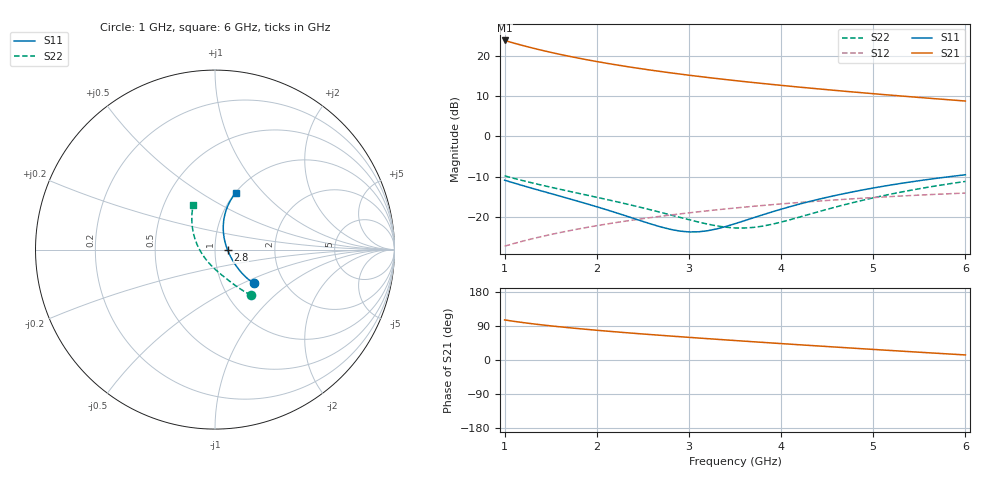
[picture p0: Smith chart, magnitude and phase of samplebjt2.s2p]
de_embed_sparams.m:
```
%% De-embedding S-parameters 
% The S-parameter data in the file "samplebjt2.s2p" was collected from a
% bipolar transistor in a fixture with a bond wire (series inductance 1nH)
% connected to a bond pad (shunt capacitance 100fF) on the input, and a
% bond pad (shunt capacitance 100fF) connected to a bond wire (series
% inductance 1nH) on the output.
% 
% This demo shows how you can remove the effect of the fixture and extract 
% the S-parameters of the device under test itself.

%   Copyright 2004 The MathWorks, Inc.
%   $Revision: 1.1.6.5 $  $Date: 2004/04/20 23:19:41 $

%% Create RF objects
% Create a data object for the measured S-parameters, by reading a
% Touchstone data file 'samplebjt2.s2p', and create two circuit objects
% for the input pad and output pad.
measured_data = read(rfdata.data, 'samplebjt2.s2p');
input_pad = rfckt.cascade('Ckts', {rfckt.seriesrlc('L', 1e-9), ...
    rfckt.shuntrlc('C', 100e-15)});  % L = 1nH, C = 100fF
output_pad = rfckt.cascade('Ckts', {rfckt.shuntrlc('C', 100e-15),...
    rfckt.seriesrlc('L', 1e-9)});    % L = 1nH, C = 100fF

%% Analyze the circuit objects in frequency domain
% Analyze the input pad and output pad circuit objects at the same 
% frequencies at which the S-parameters of the bjt were measured.
freq = measured_data.Freq;
analyze(input_pad, freq);
analyze(output_pad, freq);

%% De-embed the S-parameters
% De-embed the S-parameters from the measured S-parameters by removing
% the effects of input and output pads. Create a data object for plotting
% the de-embedded S-parameters.
z0 = measured_data.Z0;
input_pad_sparams = extract(input_pad.RFdata, 'S_Parameters', z0);
output_pad_sparams = extract(output_pad.RFdata, 'S_Parameters', z0);
de_embedded_sparams = deembedsparams(measured_data.S_Parameters, ...
    input_pad_sparams, output_pad_sparams);
de_embedded_data = rfdata.data('Z0', z0, 'S_Parameters', ...
    de_embedded_sparams, 'Freq', freq);

%% Plot both measured and de-embedded S11 on a Z Smith chart
hold off;
h = smith(measured_data, 'S11');
set(h, 'Color', [1 0 0]);
hold on;
h = smith(de_embedded_data, 'S11');
set(h, 'Color', [0 0 1]);
l = legend; legend(l, {'Measured S_{11}', 'De-embedded S_{11}'});
legend show;

%% Plot both measured and de-embedded S22 on a Z Smith chart
hold off;
h = smith(measured_data, 'S22');
set(h, 'Color', [1 0 0]);
hold on;
h = smith(de_embedded_data, 'S22');
set(h, 'Color', [0 0 1]);
l = legend; legend(l, {'Measured S_{22}', 'De-embedded S_{22}'});
legend show;

%% Plot the measured and de-embedded S21, in dB, on an X-Y plane
hold off;
h = plot(measured_data, 'S21', 'db');
set(h, 'Color', [1 0 0]);
hold on;
h = plot(de_embedded_data, 'S21', 'db');
set(h, 'Color', [0 0 1]);
l = legend; legend(l, {'Measured S_{21}', 'De-embedded S_{21}'});
legend show;
hold off;
```
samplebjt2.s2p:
# GHz S MA R 50
! S-Parameters data
! FREQ  magS11  angS11  magS21  angS21  magS12  angS12  magS22  angS22
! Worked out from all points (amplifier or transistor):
!   51 points, 1 GHz to 6 GHz, reference 50 ohm
!   highest |S21| = 23.8 dB at 1 GHz (marker M1)
!   |S21| within 3 dB of that: start of sweep to 1.512 GHz
!   unconditionally stable (mu >= 1): 1.18 GHz to end of sweep
!   at 1.8 GHz: K = 1.05, MAG = 19.7 dB, |S12| = -22.9 dB
!   at 3.5 GHz: K = 1.10, MAG = 13.8 dB, |S12| = -17.8 dB
!   at 6 GHz: K = 1.12, MAG = 9.3 dB, |S12| = -14.0 dB
!   S11 on the Smith chart (normalised r, x): 1 GHz: 1.41, -0.58; 2.8 GHz: 1.15, -0.01; 6 GHz: 1.01, +0.71
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1  0.2866 -41.0  15.4 105.7  0.04364 55.3  0.3242 -51.5
1.1  0.2646 -41.5  14.29 102.1  0.04705 55.3  0.3022 -53.4
1.3  0.2271 -41.7  12.44 95.7  0.0539 55.0  0.2649 -56.8
1.5  0.1958 -41.0  10.98 90.1  0.06082 54.2  0.2345 -59.9
1.7  0.1689 -39.5  9.81 85.2  0.06777 53.1  0.2088 -63.0
1.9  0.1452 -37.1  8.857 80.6  0.07475 51.7  0.1862 -66.4
2.2  0.1141 -31.1  7.718 74.4  0.08523 49.3  0.1564 -72.4
2.8  0.07045 -2.3  6.12 63.3  0.106 43.5  0.1065 -91.4
3.5  0.08277 52.0  4.906 51.4  0.1296 35.8  0.07335 -138.6
4.6  0.1865 74.0  3.696 34.0  0.1635 22.5  0.134 148.8
6  0.3342 70.0  2.737 13.3  0.1984 5.1  0.2763 116.0
